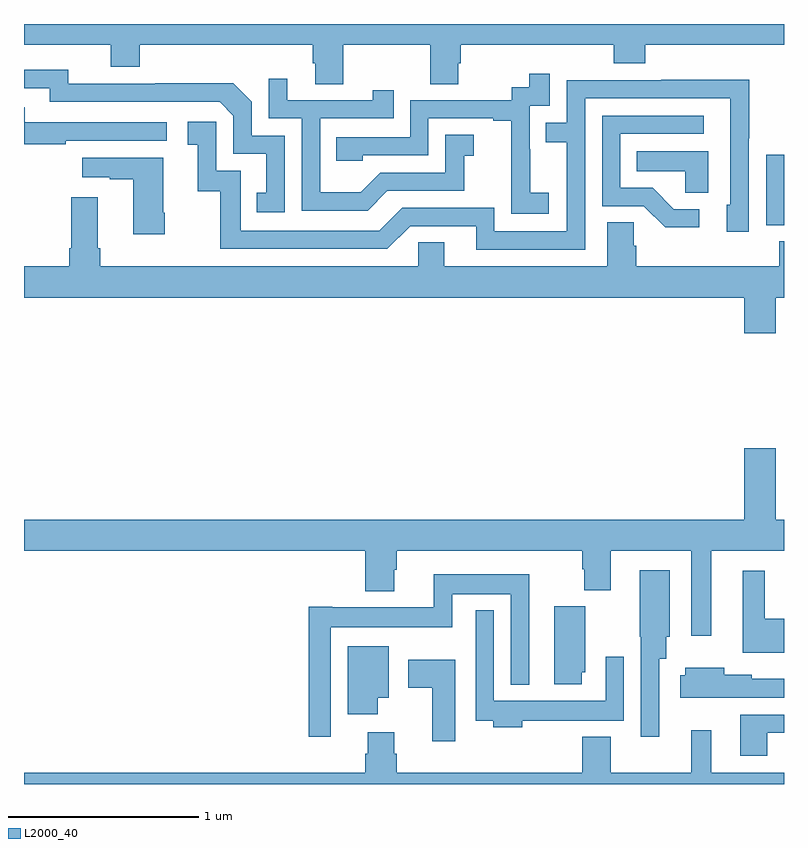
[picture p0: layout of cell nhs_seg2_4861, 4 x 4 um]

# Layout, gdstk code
import gdstk
lib = gdstk.Library(unit=1e-6, precision=1e-09)
def R(c, l, rs):  # rectangles x0, y0, x1, y1
    for r in rs: c.add(gdstk.rectangle(r[:2], r[2:], *l))
def P(c, l, *ps):  # polygons
    for p in ps: c.add(gdstk.Polygon(p, *l))
L2000_40 = (2000, 40)

nhs_seg2_4861 = lib.new_cell('nhs_seg2_4861')
R(nhs_seg2_4861, L2000_40, [(380.907,590.742,381,591.112)])
P(nhs_seg2_4861, L2000_40, [(378.681,591.692),(379.138,591.692),(379.138,591.484),(379.285,591.484),(379.285,591.594),(379.298,591.594),(379.298,591.692),(380.105,591.692),(380.105,591.593),(380.27,591.593),(380.27,591.692),(381,591.692),(381,591.8),(377,591.8),(377,591.692),(377.456,591.692),(377.456,591.575),(377.609,591.575),(377.609,591.692),(378.521,591.692),(378.521,591.594),(378.533,591.594),(378.533,591.484),(378.681,591.484)],
  [(378.372,591.213),(378.198,591.213),(378.198,591.39),(378.1,591.488),(377.692,591.488),(377.692,591.486),(377.232,591.486),(377.232,591.559),(377,591.559),(377,591.462),(377.136,591.462),(377.136,591.39),(378.03,591.39),(378.102,591.318),(378.102,591.117),(378.275,591.117),(378.275,590.913),(378.226,590.913),(378.226,590.808),(378.372,590.808)],
  [(379.762,590.911),(379.664,590.911),(379.664,591.14),(379.662,591.14),(379.662,591.369),(379.767,591.369),(379.767,591.538),(379.659,591.538),(379.659,591.468),(379.566,591.468),(379.566,591.399),(379.032,591.399),(379.032,591.204),(378.643,591.204),(378.643,591.081),(378.783,591.081),(378.783,591.108),(379.128,591.108),(379.128,591.303),(379.469,591.303),(379.469,591.291),(379.565,591.291),(379.565,591.007),(379.564,591.007),(379.564,590.801),(379.762,590.801)],
  [(378.913,590.922),(379.317,590.922),(379.317,591.107),(379.366,591.107),(379.366,591.217),(379.218,591.217),(379.218,591.018),(378.876,591.018),(378.772,590.914),(378.558,590.914),(378.558,591.303),(378.947,591.303),(378.947,591.451),(378.836,591.451),(378.836,591.399),(378.385,591.399),(378.385,591.511),(378.288,591.511),(378.288,591.303),(378.462,591.303),(378.462,590.817),(378.808,590.817)],
  [(379.953,591.408),(380.718,591.408),(380.718,590.85),(380.699,590.85),(380.699,590.706),(380.814,590.706),(380.814,591.199),(380.817,591.199),(380.817,591.506),(380.353,591.506),(380.353,591.504),(379.857,591.504),(379.857,591.279),(379.747,591.279),(379.747,591.178),(379.857,591.178),(379.857,590.709),(379.476,590.709),(379.476,590.832),(378.99,590.832),(378.87,590.712),(378.141,590.712),(378.141,591.027),(378.012,591.027),(378.012,591.286),(377.862,591.286),(377.862,591.165),(377.915,591.165),(377.915,590.919),(378.033,590.919),(378.033,590.616),(378.912,590.616),(379.032,590.736),(379.379,590.736),(379.379,590.613),(379.953,590.613)],
  [(377.219,591.186),(377.752,591.186),(377.752,591.282),(377.003,591.282),(377.003,591.361),(377,591.361),(377,591.166),(377.219,591.166)],
  [(380.554,590.826),(380.419,590.826),(380.308,590.937),(380.139,590.937),(380.139,591.222),(380.578,591.222),(380.578,591.318),(380.043,591.318),(380.043,590.841),(380.262,590.841),(380.375,590.729),(380.554,590.729)],
  [(380.602,591.13),(380.224,591.13),(380.224,591.026),(380.481,591.026),(380.481,590.911),(380.602,590.911)],
  [(377.742,590.806),(377.734,590.806),(377.734,591.097),(377.307,591.097),(377.307,590.993),(377.45,590.993),(377.45,590.983),(377.576,590.983),(377.576,590.694),(377.742,590.694)],
  [(380.956,590.36),(381,590.36),(381,590.657),(380.975,590.657),(380.975,590.524),(380.222,590.524),(380.222,590.633),(380.208,590.633),(380.208,590.756),(380.069,590.756),(380.069,590.524),(379.213,590.524),(379.213,590.651),(379.074,590.651),(379.074,590.524),(377.402,590.524),(377.402,590.62),(377.389,590.62),(377.389,590.887),(377.249,590.887),(377.249,590.62),(377.237,590.62),(377.237,590.524),(377,590.524),(377,590.36),(380.792,590.36),(380.792,590.172),(380.956,590.172)],
  [(380.617,589.028),(381,589.028),(381,589.192),(380.956,589.192),(380.956,589.567),(380.792,589.567),(380.792,589.192),(377,589.192),(377,589.028),(378.797,589.028),(378.797,588.815),(378.949,588.815),(378.949,588.927),(378.962,588.927),(378.962,589.028),(379.937,589.028),(379.937,588.929),(379.949,588.929),(379.949,588.82),(380.089,588.82),(380.089,589.028),(380.513,589.028),(380.513,588.579),(380.617,588.579)],
  [(380.343,588.458),(380.38,588.458),(380.38,588.576),(380.398,588.576),(380.398,588.925),(380.24,588.925),(380.24,588.576),(380.247,588.576),(380.247,588.048),(380.343,588.048)],
  [(381,588.67),(380.899,588.67),(380.899,588.922),(380.783,588.922),(380.783,588.491),(381,588.491)],
  [(378.615,588.626),(379.254,588.626),(379.254,588.8),(379.563,588.8),(379.563,588.323),(379.66,588.323),(379.66,588.904),(379.157,588.904),(379.157,588.73),(378.622,588.73),(378.622,588.733),(378.499,588.733),(378.499,588.048),(378.615,588.048)],
  [(379.936,588.387),(379.954,588.387),(379.954,588.735),(379.79,588.735),(379.79,588.324),(379.936,588.324)],
  [(379.622,588.132),(379.853,588.132),(379.853,588.134),(380.157,588.134),(380.157,588.469),(380.061,588.469),(380.061,588.238),(379.473,588.238),(379.473,588.715),(379.377,588.715),(379.377,588.132),(379.469,588.132),(379.469,588.098),(379.622,588.098)],
  [(378.862,588.254),(378.919,588.254),(378.919,588.526),(378.704,588.526),(378.704,588.168),(378.862,588.168)],
  [(379.27,588.454),(379.023,588.454),(379.023,588.307),(379.148,588.307),(379.148,588.024),(379.27,588.024)],
  [(381,588.355),(380.829,588.355),(380.829,588.376),(380.686,588.376),(380.686,588.412),(380.48,588.412),(380.48,588.372),(380.453,588.372),(380.453,588.254),(381,588.254)],
  [(380.911,588.069),(381,588.069),(381,588.165),(380.771,588.165),(380.771,587.949),(380.911,587.949)],
  [(381,587.86),(380.617,587.86),(380.617,588.082),(380.513,588.082),(380.513,587.86),(380.089,587.86),(380.089,588.049),(379.937,588.049),(379.937,587.86),(378.962,587.86),(378.962,587.958),(378.949,587.958),(378.949,588.073),(378.809,588.073),(378.809,587.958),(378.797,587.958),(378.797,587.86),(377,587.86),(377,587.8),(381,587.8)])

lib.write_gds('nhs_seg2_4861.gds')
